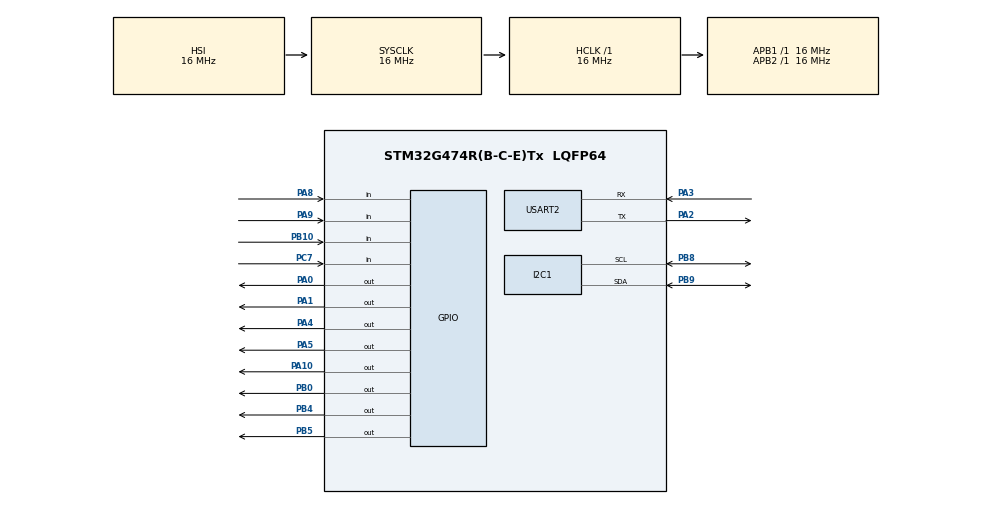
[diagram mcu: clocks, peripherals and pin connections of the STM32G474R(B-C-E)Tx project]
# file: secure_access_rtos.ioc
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FREERTOS.Queues01=eventQueue,16,2,1,Dynamic,NULL,NULL;uiQueue,8,2,1,Dynamic,NULL,NULL;outputQueue,8,2,1,Dynamic,NULL,NULL;logQueue,16,32,1,Dynamic,NULL,NULL
FREERTOS.Tasks01=defaultTask,8,128,StartDefaultTask,Default,NULL,Dynamic,NULL,NULL;InputTask,32,512,StartTask02,Default,NULL,Dynamic,NULL,NULL;AuthTask,40,768,StartTask03,Default,NULL,Dynamic,NULL,NULL;UiTask,8,768,StartTask04,Default,NULL,Dynamic,NULL,NULL;OutputTask,24,768,StartTask05,Default,NULL,Dynamic,NULL,NULL;LoggerTask,8,768,StartTask06,Default,NULL,Dynamic,NULL,NULL
FREERTOS.Timers01=lockoutTimer,Callback01,osTimerPeriodic,Default,NULL,Dynamic,NULL;uiReturnTimer,Callback02,osTimerOnce,Default,NULL,Dynamic,NULL
FREERTOS.configTOTAL_HEAP_SIZE=32768
FREERTOS.configUSE_NEWLIB_REENTRANT=1
I2C1.Timing=0x00503D58
Mcu.Family=STM32G4
Mcu.Name=STM32G474R(B-C-E)Tx
Mcu.Package=LQFP64
NVIC.PriorityGroup=NVIC_PRIORITYGROUP_4
NVIC.TIM6_DAC_IRQn=true\:15\:0\:false\:false\:true\:false\:false\:true\:true
NVIC.TimeBase=TIM6_DAC_IRQn
NVIC.TimeBaseIP=TIM6
PA0.Signal=GPIO_Output
PA1.Signal=GPIO_Output
PA10.Signal=GPIO_Output
PA2.Mode=Asynchronous
PA2.Signal=USART2_TX
PA3.Mode=Asynchronous
PA3.Signal=USART2_RX
PA4.Signal=GPIO_Output
PA5.Signal=GPIO_Output
PA8.GPIO_PuPd=GPIO_PULLUP
PA8.Signal=GPIO_Input
PA9.GPIO_PuPd=GPIO_PULLUP
PA9.Signal=GPIO_Input
PB0.Signal=GPIO_Output
PB10.GPIO_PuPd=GPIO_PULLUP
PB10.Signal=GPIO_Input
PB4.Signal=GPIO_Output
PB5.Signal=GPIO_Output
PB8-BOOT0.Mode=I2C
PB8-BOOT0.Signal=I2C1_SCL
PB9.Mode=I2C
PB9.Signal=I2C1_SDA
PC7.GPIO_PuPd=GPIO_PULLUP
PC7.Signal=GPIO_Input
ProjectManager.HeapSize=0x200
ProjectManager.StackSize=0x400
ProjectManager.TargetToolchain=STM32CubeIDE
RCC.AHBFreq_Value=16000000
RCC.APB1Freq_Value=16000000
RCC.APB1TimFreq_Value=16000000
RCC.APB2Freq_Value=16000000
RCC.APB2TimFreq_Value=16000000
RCC.CortexFreq_Value=16000000
RCC.EXTERNAL_CLOCK_VALUE=12288000
RCC.HCLKFreq_Value=16000000
RCC.HSE_VALUE=8000000
RCC.HSI48_VALUE=48000000
RCC.HSI_VALUE=16000000
RCC.LSE_VALUE=32768
RCC.SYSCLKFreq_VALUE=16000000
RCC.USBFreq_Value=64000000
RCC.VCOOutputFreq_Value=128000000
USART2.VirtualMode-Asynchronous=VM_ASYNC
VP_FREERTOS_VS_CMSIS_V2.Mode=CMSIS_V2
VP_SYS_VS_DBSignals.Mode=DisableDeadBatterySignals
VP_SYS_VS_tim6.Mode=TIM6
board=custom

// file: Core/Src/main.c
/* USER CODE BEGIN Header */
/**
  ******************************************************************************
  * @file           : main.c
  * @brief          : Main program body
  ******************************************************************************
  * @attention
  *
  * Copyright (c) 2026 STMicroelectronics.
  * All rights reserved.
  *
  * This software is licensed under terms that can be found in the LICENSE file
  * in the root directory of this software component.
  * If no LICENSE file comes with this software, it is provided AS-IS.
  *
  ******************************************************************************
  */
/* USER CODE END Header */
#include "main.h"
#include "cmsis_os.h"

/* USER CODE BEGIN Includes */
#include <stdio.h>
#include <string.h>
#include <stdarg.h>
/* USER CODE END Includes */

/* USER CODE BEGIN PTD */
typedef enum {
    APP_IDLE = 0,
    APP_TEMP_MESSAGE,
    APP_LOCKOUT
} app_state_t;

typedef enum {
    EV_KEY = 1,
    EV_LOCKOUT_TICK,
    EV_UI_TIMEOUT
} event_type_t;

typedef enum {
    UI_IDLE = 1,
    UI_PIN_MASK,
    UI_GRANTED,
    UI_DENIED,
    UI_LOCKOUT,
    UI_NEED4
} ui_cmd_t;

typedef enum {
    OUT_IDLE = 1,
    OUT_KEY,
    OUT_SUCCESS,
    OUT_FAIL,
    OUT_LOCKOUT
} output_cmd_t;

typedef struct {
    char text[64];
} log_msg_t;
/* USER CODE END PTD */

/* USER CODE BEGIN PD */
#define LCD_I2C_ADDR        (0x27 << 1)

#define LCD_BACKLIGHT       0x08
#define LCD_ENABLE_BIT      0x04
#define LCD_RW_BIT          0x02
#define LCD_RS_BIT          0x01

#define PACK_MSG(type, value)   ((((uint32_t)(type)) << 16) | ((uint16_t)(value)))
#define MSG_TYPE(msg)           ((uint16_t)(((msg) >> 16) & 0xFFFF))
#define MSG_VALUE(msg)          ((uint16_t)((msg) & 0xFFFF))
/* USER CODE END PD */

I2C_HandleTypeDef hi2c1;

UART_HandleTypeDef huart2;

/* Definitions for defaultTask */
osThreadId_t defaultTaskHandle;
const osThreadAttr_t defaultTask_attributes = {
  .name = "defaultTask",
  .priority = (osPriority_t) osPriorityLow,
  .stack_size = 128 * 4
};
/* Definitions for InputTask */
osThreadId_t InputTaskHandle;
const osThreadAttr_t InputTask_attributes = {
  .name = "InputTask",
  .priority = (osPriority_t) osPriorityAboveNormal,
  .stack_size = 512 * 4
};
/* Definitions for AuthTask */
osThreadId_t AuthTaskHandle;
const osThreadAttr_t AuthTask_attributes = {
  .name = "AuthTask",
  .priority = (osPriority_t) osPriorityHigh,
  .stack_size = 768 * 4
};
/* Definitions for UiTask */
osThreadId_t UiTaskHandle;
const osThreadAttr_t UiTask_attributes = {
  .name = "UiTask",
  .priority = (osPriority_t) osPriorityLow,
  .stack_size = 768 * 4
};
/* Definitions for OutputTask */
osThreadId_t OutputTaskHandle;
const osThreadAttr_t OutputTask_attributes = {
  .name = "OutputTask",
  .priority = (osPriority_t) osPriorityNormal,
  .stack_size = 768 * 4
};
/* Definitions for LoggerTask */
osThreadId_t LoggerTaskHandle;
const osThreadAttr_t LoggerTask_attributes = {
  .name = "LoggerTask",
  .priority = (osPriority_t) osPriorityLow,
  .stack_size = 768 * 4
};
/* Definitions for eventQueue */
osMessageQueueId_t eventQueueHandle;
const osMessageQueueAttr_t eventQueue_attributes = {
  .name = "eventQueue"
};
/* Definitions for uiQueue */
osMessageQueueId_t uiQueueHandle;
const osMessageQueueAttr_t uiQueue_attributes = {
  .name = "uiQueue"
};
/* Definitions for outputQueue */
osMessageQueueId_t outputQueueHandle;
const osMessageQueueAttr_t outputQueue_attributes = {
  .name = "outputQueue"
};
/* Definitions for logQueue */
osMessageQueueId_t logQueueHandle;
const osMessageQueueAttr_t logQueue_attributes = {
  .name = "logQueue"
};
/* Definitions for lockoutTimer */
osTimerId_t lockoutTimerHandle;
const osTimerAttr_t lockoutTimer_attributes = {
  .name = "lockoutTimer"
};
/* Definitions for uiReturnTimer */
osTimerId_t uiReturnTimerHandle;
const osTimerAttr_t uiReturnTimer_attributes = {
  .name = "uiReturnTimer"
};
/* USER CODE BEGIN PV */
/* Keypad matrix mapping after software remapping */
char keymap[4][4] = {
    {'D', 'C', 'B', 'A'},
    {'#', '9', '6', '3'},
    {'0', '8', '5', '2'},
    {'*', '7', '4', '1'}
};

/* RTOS-owned application state */
static app_state_t appState = APP_IDLE;

static char appPinBuffer[5] = {0};          // 4 digits + '\0'
static uint8_t appPinLen = 0;
static const char appCorrectPin[5] = "1234";

static uint8_t appFailedStreak = 0;
static uint32_t appLockoutRemainingSec = 0;
/* USER CODE END PV */

void SystemClock_Config(void);
static void MX_GPIO_Init(void);
static void MX_I2C1_Init(void);
static void MX_USART2_UART_Init(void);
void StartDefaultTask(void *argument);
void StartTask02(void *argument);
void StartTask03(void *argument);
void StartTask04(void *argument);
void StartTask05(void *argument);
void StartTask06(void *argument);
void Callback01(void *argument);
void Callback02(void *argument);

/* USER CODE BEGIN PFP */
/* Low-level hardware helpers */
void uart_print(const char *msg);
char keypad_scan(void);

void lcd_write_nibble(uint8_t nibble, uint8_t rs);
void lcd_send_cmd(uint8_t cmd);
void lcd_send_data(uint8_t data);
void lcd_init_custom(void);
void lcd_clear(void);
void lcd_set_cursor(uint8_t row, uint8_t col);
void lcd_send_string(const char *str);
void lcd_print_line(uint8_t row, const char *text);

void leds_off(void);
void buzzer_tone_ms(uint32_t duration_ms);

/* RTOS application helpers */
static void app_reset_pin(void);
static uint8_t app_is_digit(char key);
static uint32_t app_calc_lockout_seconds(uint8_t streak);

static void send_ui(uint16_t cmd, uint16_t value);
static void send_output(uint16_t cmd, uint16_t value);
static void send_event(uint16_t type, uint16_t value);
static void send_logf(const char *fmt, ...);

static void ui_show_pin_mask(uint8_t len);

static void output_idle(void);
static void output_key(void);
static void output_success(void);
static void output_fail(void);
static void output_lockout(void);
/* USER CODE END PFP */

/* USER CODE BEGIN 0 */
void uart_print(const char *msg)
{
    HAL_UART_Transmit(&huart2, (uint8_t*)msg, strlen(msg), HAL_MAX_DELAY);
}

char keypad_scan(void)
{
    GPIO_TypeDef* row_ports[4] = {GPIOA, GPIOA, GPIOA, GPIOB};
    uint16_t row_pins[4]       = {GPIO_PIN_0, GPIO_PIN_1, GPIO_PIN_4, GPIO_PIN_0};

    GPIO_TypeDef* col_ports[4] = {GPIOA, GPIOB, GPIOA, GPIOC};
    uint16_t col_pins[4]       = {GPIO_PIN_8, GPIO_PIN_10, GPIO_PIN_9, GPIO_PIN_7};

    // Set all rows HIGH
    for (int r = 0; r < 4; r++) {
        HAL_GPIO_WritePin(row_ports[r], row_pins[r], GPIO_PIN_SET);
    }

    // Scan each row
    for (int r = 0; r < 4; r++) {
        // Drive one row LOW
        HAL_GPIO_WritePin(row_ports[r], row_pins[r], GPIO_PIN_RESET);

        // Small settling delay
        HAL_Delay(1);

        // Read columns
        for (int c = 0; c < 4; c++) {
            if (HAL_GPIO_ReadPin(col_ports[c], col_pins[c]) == GPIO_PIN_RESET) {
                // Restore this row before returning
                HAL_GPIO_WritePin(row_ports[r], row_pins[r], GPIO_PIN_SET);
                return keymap[r][c];
            }
        }

        // Restore row HIGH
        HAL_GPIO_WritePin(row_ports[r], row_pins[r], GPIO_PIN_SET);
    }

    return 0;   // No key pressed
}

void lcd_write_nibble(uint8_t nibble, uint8_t rs)
{
    uint8_t data = 0;

    // Put nibble on D4-D7 => backpack P4-P7
    data |= (nibble & 0x0F) << 4;

    // Backlight on
    data |= LCD_BACKLIGHT;

    // RS if sending character data
    if (rs)
    {
        data |= LCD_RS_BIT;
    }

    // Write with EN low
    HAL_I2C_Master_Transmit(&hi2c1, LCD_I2C_ADDR, &data, 1, HAL_MAX_DELAY);

    // Pulse EN high
    data |= LCD_ENABLE_BIT;
    HAL_I2C_Master_Transmit(&hi2c1, LCD_I2C_ADDR, &data, 1, HAL_MAX_DELAY);

    // Then EN low again
    data &= ~LCD_ENABLE_BIT;
    HAL_I2C_Master_Transmit(&hi2c1, LCD_I2C_ADDR, &data, 1, HAL_MAX_DELAY);

    HAL_Delay(1);
}

void lcd_send_cmd(uint8_t cmd)
{
    lcd_write_nibble(cmd >> 4, 0);
    lcd_write_nibble(cmd & 0x0F, 0);
}

void lcd_send_data(uint8_t data)
{
    lcd_write_nibble(data >> 4, 1);
    lcd_write_nibble(data & 0x0F, 1);
}

void lcd_init_custom(void)
{
    HAL_Delay(50);

    // Force 4-bit init sequence
    lcd_write_nibble(0x03, 0);
    HAL_Delay(5);

    lcd_write_nibble(0x03, 0);
    HAL_Delay(5);

    lcd_write_nibble(0x03, 0);
    HAL_Delay(1);

    lcd_write_nibble(0x02, 0);   // 4-bit mode
    HAL_Delay(1);

    lcd_send_cmd(0x28);   // 4-bit, 2 lines, 5x8 font
    lcd_send_cmd(0x0C);   // display on, cursor off
    lcd_send_cmd(0x06);   // entry mode: increment cursor
    lcd_send_cmd(0x01);   // clear
    HAL_Delay(2);
}

void lcd_clear(void)
{
    lcd_send_cmd(0x01);
    HAL_Delay(2);
}

void lcd_set_cursor(uint8_t row, uint8_t col)
{
    uint8_t address;

    if (row == 0)
    {
        address = 0x80 + col;
    }
    else
    {
        address = 0xC0 + col;
    }

    lcd_send_cmd(address);
}

void lcd_send_string(const char *str)
{
    while (*str)
    {
        lcd_send_data((uint8_t)(*str));
        str++;
    }
}

void lcd_print_line(uint8_t row, const char *text)
{
    char buf[17];
    snprintf(buf, sizeof(buf), "%-16.16s", text);   // pad/truncate to 16 chars
    lcd_set_cursor(row, 0);
    lcd_send_string(buf);
}

void leds_off(void)
{
    HAL_GPIO_WritePin(GPIOB, GPIO_PIN_4, GPIO_PIN_RESET); // Red LED off
    HAL_GPIO_WritePin(GPIOB, GPIO_PIN_5, GPIO_PIN_RESET); // Green LED off
}

void buzzer_tone_ms(uint32_t duration_ms)
{
    uint32_t cycles = duration_ms * 2;   // rough tone timing

    for (uint32_t i = 0; i < cycles; i++)
    {
        HAL_GPIO_WritePin(GPIOA, GPIO_PIN_10, GPIO_PIN_SET);
        HAL_Delay(1);
        HAL_GPIO_WritePin(GPIOA, GPIO_PIN_10, GPIO_PIN_RESET);
        HAL_Delay(1);
    }
}

/* ---------- RTOS application helpers ---------- */
static void app_reset_pin(void)
{
    appPinLen = 0;
    memset(appPinBuffer, 0, sizeof(appPinBuffer));
}

static uint8_t app_is_digit(char key)
{
    return (key >= '0' && key <= '9');
}

static uint32_t app_calc_lockout_seconds(uint8_t streak)
{
    if (streak < 5)
    {
        return 0;
    }

    uint32_t seconds = 60;

    for (uint8_t i = 5; i < streak; i++)
    {
        seconds *= 2;
        if (seconds >= 1800)
        {
            seconds = 1800;
            break;
        }
    }

    return seconds;
}

static void send_ui(uint16_t cmd, uint16_t value)
{
    uint32_t msg = PACK_MSG(cmd, value);
    osMessageQueuePut(uiQueueHandle, &msg, 0, 0);
}

static void send_output(uint16_t cmd, uint16_t value)
{
    uint32_t msg = PACK_MSG(cmd, value);
    osMessageQueuePut(outputQueueHandle, &msg, 0, 0);
}

static void send_event(uint16_t type, uint16_t value)
{
    uint32_t msg = PACK_MSG(type, value);
    osMessageQueuePut(eventQueueHandle, &msg, 0, 0);
}

static void send_logf(const char *fmt, ...)
{
    log_msg_t msg;
    va_list args;

    memset(&msg, 0, sizeof(msg));

    va_start(args, fmt);
    vsnprintf(msg.text, sizeof(msg.text), fmt, args);
    va_end(args);

    osMessageQueuePut(logQueueHandle, &msg, 0, 0);
}

static void ui_show_pin_mask(uint8_t len)
{
    char stars[5] = {0};
    char line[17];

    for (uint8_t i = 0; i < len && i < 4; i++)
    {
        stars[i] = '*';
    }

    snprintf(line, sizeof(line), "PIN: %s", stars);
    lcd_print_line(0, "Enter PIN");
    lcd_print_line(1, line);
}

static void output_idle(void)
{
    leds_off();
}

static void output_key(void)
{
    buzzer_tone_ms(30);
}

static void output_success(void)
{
    leds_off();
    HAL_GPIO_WritePin(GPIOB, GPIO_PIN_5, GPIO_PIN_SET);
    buzzer_tone_ms(60);
    osDelay(60);
    buzzer_tone_ms(60);
}

static void output_fail(void)
{
    leds_off();
    HAL_GPIO_WritePin(GPIOB, GPIO_PIN_4, GPIO_PIN_SET);
    buzzer_tone_ms(150);
}

static void output_lockout(void)
{
    leds_off();
    HAL_GPIO_WritePin(GPIOB, GPIO_PIN_4, GPIO_PIN_SET);
    buzzer_tone_ms(200);
    osDelay(80);
    buzzer_tone_ms(200);
    osDelay(80);
    buzzer_tone_ms(200);
}
static void task_debug(const char *msg)
{
    uart_print(msg);
}
/* USER CODE END 0 */

int main(void)
{
  char msg[64];
  osStatus_t status;

  HAL_Init();

  SystemClock_Config();

  MX_GPIO_Init();
  MX_I2C1_Init();
  MX_USART2_UART_Init();

  uart_print("Before osKernelInitialize\r\n");
  status = osKernelInitialize();
  snprintf(msg, sizeof(msg), "osKernelInitialize=%d\r\n", (int)status);
  uart_print(msg);

  MX_FREERTOS_Init();

  uart_print("Secure Access RTOS boot\r\n");
  leds_off();

  uart_print("Before osKernelStart\r\n");
  status = osKernelStart();

  /* If we get here, scheduler did NOT start properly */
  snprintf(msg, sizeof(msg), "osKernelStart returned %d\r\n", (int)status);
  uart_print(msg);

  while (1)
  {
    HAL_GPIO_TogglePin(GPIOA, GPIO_PIN_5);
    HAL_Delay(250);
  }
}
void SystemClock_Config(void)
{
  RCC_OscInitTypeDef RCC_OscInitStruct = {0};
  RCC_ClkInitTypeDef RCC_ClkInitStruct = {0};

  /** Configure the main internal regulator output voltage
  */
  HAL_PWREx_ControlVoltageScaling(PWR_REGULATOR_VOLTAGE_SCALE1);

  /** Initializes the RCC Oscillators according to the specified parameters
  * in the RCC_OscInitTypeDef structure.
  */
  RCC_OscInitStruct.OscillatorType = RCC_OSCILLATORTYPE_HSI;
  RCC_OscInitStruct.HSIState = RCC_HSI_ON;
  RCC_OscInitStruct.HSICalibrationValue = RCC_HSICALIBRATION_DEFAULT;
  RCC_OscInitStruct.PLL.PLLState = RCC_PLL_NONE;
  if (HAL_RCC_OscConfig(&RCC_OscInitStruct) != HAL_OK)
  {
    Error_Handler();
  }

  /** Initializes the CPU, AHB and APB buses clocks
  */
  RCC_ClkInitStruct.ClockType = RCC_CLOCKTYPE_HCLK|RCC_CLOCKTYPE_SYSCLK
                              |RCC_CLOCKTYPE_PCLK1|RCC_CLOCKTYPE_PCLK2;
  RCC_ClkInitStruct.SYSCLKSource = RCC_SYSCLKSOURCE_HSI;
  RCC_ClkInitStruct.AHBCLKDivider = RCC_SYSCLK_DIV1;
  RCC_ClkInitStruct.APB1CLKDivider = RCC_HCLK_DIV1;
  RCC_ClkInitStruct.APB2CLKDivider = RCC_HCLK_DIV1;

  if (HAL_RCC_ClockConfig(&RCC_ClkInitStruct, FLASH_LATENCY_0) != HAL_OK)
  {
    Error_Handler();
  }
}

static void MX_I2C1_Init(void)
{

  hi2c1.Instance = I2C1;
  hi2c1.Init.Timing = 0x00503D58;
  hi2c1.Init.OwnAddress1 = 0;
  hi2c1.Init.AddressingMode = I2C_ADDRESSINGMODE_7BIT;
  hi2c1.Init.DualAddressMode = I2C_DUALADDRESS_DISABLE;
  hi2c1.Init.OwnAddress2 = 0;
  hi2c1.Init.OwnAddress2Masks = I2C_OA2_NOMASK;
  hi2c1.Init.GeneralCallMode = I2C_GENERALCALL_DISABLE;
  hi2c1.Init.NoStretchMode = I2C_NOSTRETCH_DISABLE;
  if (HAL_I2C_Init(&hi2c1) != HAL_OK)
  {
    Error_Handler();
  }

  /** Configure Analogue filter
  */
  if (HAL_I2CEx_ConfigAnalogFilter(&hi2c1, I2C_ANALOGFILTER_ENABLE) != HAL_OK)
  {
    Error_Handler();
  }

  /** Configure Digital filter
  */
  if (HAL_I2CEx_ConfigDigitalFilter(&hi2c1, 0) != HAL_OK)
  {
    Error_Handler();
  }

}

static void MX_USART2_UART_Init(void)
{

  huart2.Instance = USART2;
  huart2.Init.BaudRate = 115200;
  huart2.Init.WordLength = UART_WORDLENGTH_8B;
  huart2.Init.StopBits = UART_STOPBITS_1;
  huart2.Init.Parity = UART_PARITY_NONE;
  huart2.Init.Mode = UART_MODE_TX_RX;
  huart2.Init.HwFlowCtl = UART_HWCONTROL_NONE;
  huart2.Init.OverSampling = UART_OVERSAMPLING_16;
  huart2.Init.OneBitSampling = UART_ONE_BIT_SAMPLE_DISABLE;
  huart2.Init.ClockPrescaler = UART_PRESCALER_DIV1;
  huart2.AdvancedInit.AdvFeatureInit = UART_ADVFEATURE_NO_INIT;
  if (HAL_UART_Init(&huart2) != HAL_OK)
  {
    Error_Handler();
  }
  if (HAL_UARTEx_SetTxFifoThreshold(&huart2, UART_TXFIFO_THRESHOLD_1_8) != HAL_OK)
  {
    Error_Handler();
  }
  if (HAL_UARTEx_SetRxFifoThreshold(&huart2, UART_RXFIFO_THRESHOLD_1_8) != HAL_OK)
  {
    Error_Handler();
  }
  if (HAL_UARTEx_DisableFifoMode(&huart2) != HAL_OK)
  {
    Error_Handler();
  }

}

static void MX_GPIO_Init(void)
{
  GPIO_InitTypeDef GPIO_InitStruct = {0};

  /* GPIO Ports Clock Enable */
  __HAL_RCC_GPIOA_CLK_ENABLE();
  __HAL_RCC_GPIOB_CLK_ENABLE();
  __HAL_RCC_GPIOC_CLK_ENABLE();

  /*Configure GPIO pin Output Level */
  HAL_GPIO_WritePin(GPIOA, GPIO_PIN_0|GPIO_PIN_1|GPIO_PIN_4|GPIO_PIN_5
                          |GPIO_PIN_10, GPIO_PIN_RESET);

  /*Configure GPIO pin Output Level */
  HAL_GPIO_WritePin(GPIOB, GPIO_PIN_0|GPIO_PIN_4|GPIO_PIN_5, GPIO_PIN_RESET);

  /*Configure GPIO pins : PA0 PA1 PA4 PA5
                           PA10 */
  GPIO_InitStruct.Pin = GPIO_PIN_0|GPIO_PIN_1|GPIO_PIN_4|GPIO_PIN_5
                          |GPIO_PIN_10;
  GPIO_InitStruct.Mode = GPIO_MODE_OUTPUT_PP;
  GPIO_InitStruct.Pull = GPIO_NOPULL;
  GPIO_InitStruct.Speed = GPIO_SPEED_FREQ_LOW;
  HAL_GPIO_Init(GPIOA, &GPIO_InitStruct);

  /*Configure GPIO pins : PB0 PB4 PB5 */
  GPIO_InitStruct.Pin = GPIO_PIN_0|GPIO_PIN_4|GPIO_PIN_5;
  GPIO_InitStruct.Mode = GPIO_MODE_OUTPUT_PP;
  GPIO_InitStruct.Pull = GPIO_NOPULL;
  GPIO_InitStruct.Speed = GPIO_SPEED_FREQ_LOW;
  HAL_GPIO_Init(GPIOB, &GPIO_InitStruct);

  /*Configure GPIO pin : PB10 */
  GPIO_InitStruct.Pin = GPIO_PIN_10;
  GPIO_InitStruct.Mode = GPIO_MODE_INPUT;
  GPIO_InitStruct.Pull = GPIO_PULLUP;
  HAL_GPIO_Init(GPIOB, &GPIO_InitStruct);

  /*Configure GPIO pin : PC7 */
  GPIO_InitStruct.Pin = GPIO_PIN_7;
  GPIO_InitStruct.Mode = GPIO_MODE_INPUT;
  GPIO_InitStruct.Pull = GPIO_PULLUP;
  HAL_GPIO_Init(GPIOC, &GPIO_InitStruct);

  /*Configure GPIO pins : PA8 PA9 */
  GPIO_InitStruct.Pin = GPIO_PIN_8|GPIO_PIN_9;
  GPIO_InitStruct.Mode = GPIO_MODE_INPUT;
  GPIO_InitStruct.Pull = GPIO_PULLUP;
  HAL_GPIO_Init(GPIOA, &GPIO_InitStruct);

}

/* USER CODE BEGIN 4 */
void MX_FREERTOS_Init(void)
{
  char msg[80];

  uart_print("MX_FREERTOS_Init start\r\n");

  /* Create RTOS queues */
  eventQueueHandle = osMessageQueueNew(16, sizeof(uint32_t), &eventQueue_attributes);
  snprintf(msg, sizeof(msg), "eventQueueHandle=%p\r\n", eventQueueHandle);
  uart_print(msg);

  uiQueueHandle = osMessageQueueNew(8, sizeof(uint32_t), &uiQueue_attributes);
  snprintf(msg, sizeof(msg), "uiQueueHandle=%p\r\n", uiQueueHandle);
  uart_print(msg);

  outputQueueHandle = osMessageQueueNew(8, sizeof(uint32_t), &outputQueue_attributes);
  snprintf(msg, sizeof(msg), "outputQueueHandle=%p\r\n", outputQueueHandle);
  uart_print(msg);

  logQueueHandle = osMessageQueueNew(16, sizeof(log_msg_t), &logQueue_attributes);
  snprintf(msg, sizeof(msg), "logQueueHandle=%p\r\n", logQueueHandle);
  uart_print(msg);

  /* Create RTOS timers */
  lockoutTimerHandle = osTimerNew(Callback01, osTimerPeriodic, NULL, &lockoutTimer_attributes);
  snprintf(msg, sizeof(msg), "lockoutTimerHandle=%p\r\n", lockoutTimerHandle);
  uart_print(msg);

  uiReturnTimerHandle = osTimerNew(Callback02, osTimerOnce, NULL, &uiReturnTimer_attributes);
  snprintf(msg, sizeof(msg), "uiReturnTimerHandle=%p\r\n", uiReturnTimerHandle);
  uart_print(msg);

  /* Create RTOS threads */
  defaultTaskHandle = osThreadNew(StartDefaultTask, NULL, &defaultTask_attributes);
  snprintf(msg, sizeof(msg), "defaultTaskHandle=%p\r\n", defaultTaskHandle);
  uart_print(msg);

  InputTaskHandle = osThreadNew(StartTask02, NULL, &InputTask_attributes);
  snprintf(msg, sizeof(msg), "InputTaskHandle=%p\r\n", InputTaskHandle);
  uart_print(msg);

  AuthTaskHandle = osThreadNew(StartTask03, NULL, &AuthTask_attributes);
  snprintf(msg, sizeof(msg), "AuthTaskHandle=%p\r\n", AuthTaskHandle);
  uart_print(msg);

  UiTaskHandle = osThreadNew(StartTask04, NULL, &UiTask_attributes);
  snprintf(msg, sizeof(msg), "UiTaskHandle=%p\r\n", UiTaskHandle);
  uart_print(msg);

  OutputTaskHandle = osThreadNew(StartTask05, NULL, &OutputTask_attributes);
  snprintf(msg, sizeof(msg), "OutputTaskHandle=%p\r\n", OutputTaskHandle);
  uart_print(msg);

  LoggerTaskHandle = osThreadNew(StartTask06, NULL, &LoggerTask_attributes);
  snprintf(msg, sizeof(msg), "LoggerTaskHandle=%p\r\n", LoggerTaskHandle);
  uart_print(msg);

  uart_print("MX_FREERTOS_Init end\r\n");
}
/* USER CODE END 4 */

void StartDefaultTask(void *argument)
{
  /* USER CODE BEGIN 5 */
  /* Infinite loop */
	/* Idle background task; application logic lives in the dedicated RTOS tasks */
  for(;;)
  {
    osDelay(1000);
  }
  /* USER CODE END 5 */
}

void StartTask02(void *argument)
{
  /* USER CODE BEGIN StartTask02 */
	  char lastKey = 0;
	  char key;
	  char msg[32];

	  task_debug("InputTask alive\r\n");

	  for(;;)
	  {
		  /* Periodically scan the keypad and send key events to AuthTask */
	    key = keypad_scan();

	    if (key != 0 && key != lastKey)
	    {
	      snprintf(msg, sizeof(msg), "Input key: %c\r\n", key);
	      task_debug(msg);

	      send_event(EV_KEY, (uint16_t)key);
	      lastKey = key;
	    }

	    if (key == 0)
	    {
	      lastKey = 0;
	    }

	    osDelay(20);
	  }

  /* USER CODE END StartTask02 */
}

void StartTask03(void *argument)
{
  /* USER CODE BEGIN StartTask03 */
	  uint32_t msg;
	  char dbg[40];

	  task_debug("AuthTask alive\r\n");

	  /* Initialize application state and request the idle UI */
	  app_reset_pin();
	  appState = APP_IDLE;

	  send_ui(UI_IDLE, 0);
	  send_output(OUT_IDLE, 0);
	  send_logf("RTOS auth start\r\n");

	  for(;;)
	  {
	    osMessageQueueGet(eventQueueHandle, &msg, NULL, osWaitForever);

	    snprintf(dbg, sizeof(dbg), "Auth got event type=%u val=%u\r\n",
	             (unsigned)MSG_TYPE(msg), (unsigned)MSG_VALUE(msg));
	    task_debug(dbg);

	    switch (MSG_TYPE(msg))
	    {
	      case EV_KEY:
	      {
	        char key = (char)MSG_VALUE(msg);

	        snprintf(dbg, sizeof(dbg), "Auth key=%c\r\n", key);
	        task_debug(dbg);

	        if (appState == APP_LOCKOUT)
	        {
	          break;
	        }

	        if (appState == APP_TEMP_MESSAGE)
	        {
	          break;
	        }

	        if (app_is_digit(key))
	        {
	          if (appPinLen < 4)
	          {
	            appPinBuffer[appPinLen] = key;
	            appPinLen++;
	            appPinBuffer[appPinLen] = '\0';

	            send_ui(UI_PIN_MASK, appPinLen);
	            send_output(OUT_KEY, 0);
	            send_logf("PIN: %s\r\n", appPinBuffer);
	          }
	        }
	        else if (key == '*')
	        {
	          app_reset_pin();
	          send_ui(UI_IDLE, 0);
	          send_logf("PIN cleared\r\n");
	        }
	        else if (key == '#')
	        {
	          if (appPinLen != 4)
	          {
	            send_ui(UI_NEED4, 0);
	            osTimerStart(uiReturnTimerHandle, 800);
	            appState = APP_TEMP_MESSAGE;
	            send_logf("Need exactly 4 digits before submit\r\n");
	          }
	          else if (strcmp(appPinBuffer, appCorrectPin) == 0)
	          {
	            appFailedStreak = 0;
	            app_reset_pin();
	            appState = APP_TEMP_MESSAGE;

	            send_ui(UI_GRANTED, 0);
	            send_output(OUT_SUCCESS, 0);
	            send_logf("ACCESS GRANTED\r\n");

	            osTimerStart(uiReturnTimerHandle, 800);
	          }
	          else
	          {
	            appFailedStreak++;
	            app_reset_pin();

	            send_logf("ACCESS DENIED\r\nFailed streak: %u\r\n", appFailedStreak);

	            if (appFailedStreak >= 5)
	            {
	              appState = APP_LOCKOUT;
	              appLockoutRemainingSec = app_calc_lockout_seconds(appFailedStreak);

	              send_ui(UI_LOCKOUT, appLockoutRemainingSec);
	              send_output(OUT_LOCKOUT, 0);
	              send_logf("LOCKOUT %lu seconds\r\n", (unsigned long)appLockoutRemainingSec);

	              osTimerStart(lockoutTimerHandle, 1000);
	            }
	            else
	            {
	              appState = APP_TEMP_MESSAGE;
	              send_ui(UI_DENIED, appFailedStreak);
	              send_output(OUT_FAIL, 0);
	              osTimerStart(uiReturnTimerHandle, 800);
	            }
	          }
	        }
	        else
	        {
	          send_logf("Ignored key: %c\r\n", key);
	        }

	        break;
	      }

	      case EV_UI_TIMEOUT:
	        task_debug("Auth: UI timeout\r\n");
	        if (appState == APP_TEMP_MESSAGE)
	        {
	          appState = APP_IDLE;
	          send_ui(UI_IDLE, 0);
	          send_output(OUT_IDLE, 0);
	        }
	        break;

	      case EV_LOCKOUT_TICK:
	        task_debug("Auth: lockout tick\r\n");
	        if (appState == APP_LOCKOUT)
	        {
	          if (appLockoutRemainingSec > 0)
	          {
	            appLockoutRemainingSec--;
	          }

	          if (appLockoutRemainingSec == 0)
	          {
	            osTimerStop(lockoutTimerHandle);
	            appState = APP_IDLE;
	            send_ui(UI_IDLE, 0);
	            send_output(OUT_IDLE, 0);
	            send_logf("LOCKOUT ENDED\r\n");
	          }
	          else
	          {
	            send_ui(UI_LOCKOUT, appLockoutRemainingSec);
	          }
	        }
	        break;

	      default:
	        break;
	    }
	  }
  /* USER CODE END StartTask03 */
}

void StartTask04(void *argument)
{
  /* USER CODE BEGIN StartTask04 */
	  uint32_t msg;
	  char dbg[40];
	  /* UiTask owns LCD initialization and all display updates */
	  task_debug("UiTask alive\r\n");

	  lcd_init_custom();
	  lcd_clear();
	  lcd_print_line(0, "Starting...");
	  lcd_print_line(1, "RTOS UI");
	  osDelay(200);

	  for(;;)
	  {
	    osMessageQueueGet(uiQueueHandle, &msg, NULL, osWaitForever);

	    snprintf(dbg, sizeof(dbg), "UI msg type=%u val=%u\r\n",
	             (unsigned)MSG_TYPE(msg), (unsigned)MSG_VALUE(msg));
	    task_debug(dbg);

	    switch (MSG_TYPE(msg))
	    {
	      case UI_IDLE:
	        lcd_print_line(0, "Enter PIN");
	        lcd_print_line(1, "PIN:");
	        break;

	      case UI_PIN_MASK:
	        ui_show_pin_mask((uint8_t)MSG_VALUE(msg));
	        break;

	      case UI_GRANTED:
	        lcd_print_line(0, "Access Granted");
	        lcd_print_line(1, "Welcome");
	        break;

	      case UI_DENIED:
	      {
	        char line[17];
	        snprintf(line, sizeof(line), "Fails: %u", (unsigned)MSG_VALUE(msg));
	        lcd_print_line(0, "Access Denied");
	        lcd_print_line(1, line);
	        break;
	      }

	      case UI_LOCKOUT:
	      {
	        char line[17];
	        snprintf(line, sizeof(line), "Try in %us", (unsigned)MSG_VALUE(msg));
	        lcd_print_line(0, "LOCKED OUT");
	        lcd_print_line(1, line);
	        break;
	      }

	      case UI_NEED4:
	        lcd_print_line(0, "Enter 4 digits");
	        lcd_print_line(1, "Then press #");
	        break;

	      default:
	        break;
	    }
	  }

  /* USER CODE END StartTask04 */
}

void StartTask05(void *argument)
{
  /* USER CODE BEGIN StartTask05 */
	  uint32_t msg;
	  /* OutputTask owns the LEDs and buzzer */

	  output_idle();

	  for(;;)
	  {
	    osMessageQueueGet(outputQueueHandle, &msg, NULL, osWaitForever);

	    switch (MSG_TYPE(msg))
	    {
	      case OUT_IDLE:
	        output_idle();
	        break;

	      case OUT_KEY:
	        output_key();
	        break;

	      case OUT_SUCCESS:
	        output_success();
	        break;

	      case OUT_FAIL:
	        output_fail();
	        break;

	      case OUT_LOCKOUT:
	        output_lockout();
	        break;

	      default:
	        break;
	    }
	  }
  /* USER CODE END StartTask05 */
}

void StartTask06(void *argument)
{
  /* USER CODE BEGIN StartTask06 */
	  log_msg_t msg;

	  /* LoggerTask owns UART output for queued logs */
	  for(;;)
	  {
	    osMessageQueueGet(logQueueHandle, &msg, NULL, osWaitForever);
	    uart_print(msg.text);
	  }
  /* USER CODE END StartTask06 */
}

/* Callback01 function */
void Callback01(void *argument)
{
  /* USER CODE BEGIN Callback01 */
	  /* Periodic lockout timer callback: send one lockout tick event */
	  send_event(EV_LOCKOUT_TICK, 0);
  /* USER CODE END Callback01 */
}

/* Callback02 function */
void Callback02(void *argument)
{
  /* USER CODE BEGIN Callback02 */
	  /* One-shot UI timer callback: return temporary screens back to idle */
	  send_event(EV_UI_TIMEOUT, 0);
  /* USER CODE END Callback02 */
}

void HAL_TIM_PeriodElapsedCallback(TIM_HandleTypeDef *htim)
{
  if (htim->Instance == TIM6)
  {
    HAL_IncTick();
  }
}

void Error_Handler(void)
{
  __disable_irq();
  while (1)
  {
  }
}
